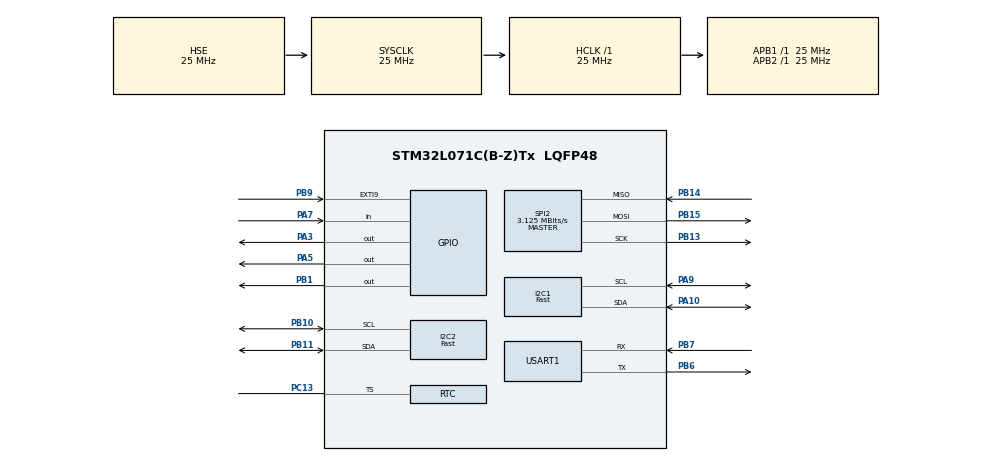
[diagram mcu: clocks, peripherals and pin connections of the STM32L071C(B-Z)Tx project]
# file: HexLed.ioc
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Dma.I2C1_RX.0.Direction=DMA_PERIPH_TO_MEMORY
Dma.I2C1_RX.0.Instance=DMA1_Channel3
Dma.I2C1_RX.0.MemDataAlignment=DMA_MDATAALIGN_BYTE
Dma.I2C1_RX.0.MemInc=DMA_MINC_ENABLE
Dma.I2C1_RX.0.Mode=DMA_NORMAL
Dma.I2C1_RX.0.PeriphDataAlignment=DMA_PDATAALIGN_BYTE
Dma.I2C1_RX.0.PeriphInc=DMA_PINC_DISABLE
Dma.I2C1_RX.0.Priority=DMA_PRIORITY_LOW
Dma.I2C1_TX.1.Direction=DMA_MEMORY_TO_PERIPH
Dma.I2C1_TX.1.Instance=DMA1_Channel2
Dma.I2C1_TX.1.MemDataAlignment=DMA_MDATAALIGN_BYTE
Dma.I2C1_TX.1.MemInc=DMA_MINC_ENABLE
Dma.I2C1_TX.1.Mode=DMA_NORMAL
Dma.I2C1_TX.1.PeriphDataAlignment=DMA_PDATAALIGN_BYTE
Dma.I2C1_TX.1.PeriphInc=DMA_PINC_DISABLE
Dma.I2C1_TX.1.Priority=DMA_PRIORITY_LOW
Dma.I2C2_RX.2.Direction=DMA_PERIPH_TO_MEMORY
Dma.I2C2_RX.2.Instance=DMA1_Channel5
Dma.I2C2_RX.2.MemDataAlignment=DMA_MDATAALIGN_BYTE
Dma.I2C2_RX.2.MemInc=DMA_MINC_ENABLE
Dma.I2C2_RX.2.Mode=DMA_NORMAL
Dma.I2C2_RX.2.PeriphDataAlignment=DMA_PDATAALIGN_BYTE
Dma.I2C2_RX.2.PeriphInc=DMA_PINC_DISABLE
Dma.I2C2_RX.2.Priority=DMA_PRIORITY_LOW
Dma.I2C2_TX.3.Direction=DMA_MEMORY_TO_PERIPH
Dma.I2C2_TX.3.Instance=DMA1_Channel4
Dma.I2C2_TX.3.MemDataAlignment=DMA_MDATAALIGN_BYTE
Dma.I2C2_TX.3.MemInc=DMA_MINC_ENABLE
Dma.I2C2_TX.3.Mode=DMA_NORMAL
Dma.I2C2_TX.3.PeriphDataAlignment=DMA_PDATAALIGN_BYTE
Dma.I2C2_TX.3.PeriphInc=DMA_PINC_DISABLE
Dma.I2C2_TX.3.Priority=DMA_PRIORITY_LOW
Dma.Request0=I2C1_RX
Dma.Request1=I2C1_TX
Dma.Request2=I2C2_RX
Dma.Request3=I2C2_TX
Dma.Request4=SPI2_RX
Dma.Request5=SPI2_TX
Dma.SPI2_RX.4.Direction=DMA_PERIPH_TO_MEMORY
Dma.SPI2_RX.4.Instance=DMA1_Channel6
Dma.SPI2_RX.4.MemDataAlignment=DMA_MDATAALIGN_BYTE
Dma.SPI2_RX.4.MemInc=DMA_MINC_ENABLE
Dma.SPI2_RX.4.Mode=DMA_NORMAL
Dma.SPI2_RX.4.PeriphDataAlignment=DMA_PDATAALIGN_BYTE
Dma.SPI2_RX.4.PeriphInc=DMA_PINC_DISABLE
Dma.SPI2_RX.4.Priority=DMA_PRIORITY_LOW
Dma.SPI2_TX.5.Direction=DMA_MEMORY_TO_PERIPH
Dma.SPI2_TX.5.Instance=DMA1_Channel7
Dma.SPI2_TX.5.MemDataAlignment=DMA_MDATAALIGN_BYTE
Dma.SPI2_TX.5.MemInc=DMA_MINC_ENABLE
Dma.SPI2_TX.5.Mode=DMA_NORMAL
Dma.SPI2_TX.5.PeriphDataAlignment=DMA_PDATAALIGN_BYTE
Dma.SPI2_TX.5.PeriphInc=DMA_PINC_DISABLE
Dma.SPI2_TX.5.Priority=DMA_PRIORITY_LOW
FREERTOS.Tasks01=defaultTask,24,128,StartDefaultTask,Default,NULL,Dynamic,NULL,NULL
I2C1.I2C_Speed_Mode=I2C_Fast
I2C1.Timing=0x00200B2B
I2C2.GeneralCallMode=I2C_GENERALCALL_ENABLE
I2C2.I2C_Speed_Mode=I2C_Fast
I2C2.NoStretchMode=I2C_NOSTRETCH_ENABLE
I2C2.OwnAddress=16
I2C2.Timing=0x00200B2B
Mcu.Family=STM32L0
Mcu.Name=STM32L071C(B-Z)Tx
Mcu.Package=LQFP48
NVIC.DMA1_Channel2_3_IRQn=true\:3\:0\:false\:false\:true\:true\:false\:true\:true
NVIC.DMA1_Channel4_5_6_7_IRQn=true\:3\:0\:false\:false\:true\:true\:false\:true\:true
NVIC.I2C1_IRQn=true\:3\:0\:false\:false\:true\:true\:true\:true\:true
NVIC.I2C2_IRQn=true\:3\:0\:false\:false\:true\:true\:true\:true\:true
NVIC.SPI2_IRQn=true\:3\:0\:false\:false\:true\:true\:true\:true\:true
NVIC.TIM2_IRQn=true\:0\:0\:false\:false\:true\:false\:false\:true\:true
NVIC.TimeBase=TIM2_IRQn
NVIC.TimeBaseIP=TIM2
NVIC.USART1_IRQn=true\:3\:0\:false\:false\:true\:true\:true\:true\:true
PA0.Mode=SYS_WakeUp0
PA0.Signal=SYS_WKUP1
PA10.GPIO_Pu=GPIO_PULLUP
PA10.Mode=I2C
PA10.Signal=I2C1_SDA
PA13.Mode=Serial_Wire
PA13.Signal=SYS_SWDIO
PA14.Mode=Serial_Wire
PA14.Signal=SYS_SWCLK
PA3.Signal=GPIO_Output
PA5.Signal=GPIO_Output
PA7.Signal=GPIO_Input
PA9.GPIO_Pu=GPIO_PULLUP
PA9.Mode=I2C
PA9.Signal=I2C1_SCL
PB1.Signal=GPIO_Output
PB10.GPIO_Pu=GPIO_PULLUP
PB10.Mode=I2C
PB10.Signal=I2C2_SCL
PB11.GPIO_Pu=GPIO_PULLUP
PB11.Mode=I2C
PB11.Signal=I2C2_SDA
PB13.Mode=Full_Duplex_Master
PB13.Signal=SPI2_SCK
PB14.Mode=Full_Duplex_Master
PB14.Signal=SPI2_MISO
PB15.Mode=Full_Duplex_Master
PB15.Signal=SPI2_MOSI
PB6.Mode=Asynchronous
PB6.Signal=USART1_TX
PB7.Mode=Asynchronous
PB7.Signal=USART1_RX
PB9.Signal=GPXTI9
PC13.Mode=Timestamp enabled
PC13.Signal=RTC_TS
PC14-OSC32_IN.Mode=LSE-External-Oscillator
PC14-OSC32_IN.Signal=RCC_OSC32_IN
PC15-OSC32_OUT.Mode=LSE-External-Oscillator
PC15-OSC32_OUT.Signal=RCC_OSC32_OUT
PH0-OSC_IN.Mode=HSE-External-Oscillator
PH0-OSC_IN.Signal=RCC_OSC_IN
PH1-OSC_OUT.Mode=HSE-External-Oscillator
PH1-OSC_OUT.Signal=RCC_OSC_OUT
ProjectManager.HeapSize=0x200
ProjectManager.StackSize=0x400
ProjectManager.TargetToolchain=Makefile
RCC.AHBFreq_Value=25000000
RCC.APB1Freq_Value=25000000
RCC.APB1TimFreq_Value=25000000
RCC.APB2Freq_Value=25000000
RCC.APB2TimFreq_Value=25000000
RCC.HCLKFreq_Value=25000000
RCC.HSE_VALUE=25000000
RCC.HSI16_VALUE=16000000
RCC.HSI_VALUE=16000000
RCC.MSI_VALUE=2097000
RCC.RTCClockSelection=RCC_RTCCLKSOURCE_LSE
RCC.RTCClockSelectionVirtual=RCC_RTCCLKSOURCE_LSE
RCC.SYSCLKFreq_VALUE=25000000
RCC.SYSCLKSource=RCC_SYSCLKSOURCE_HSE
RCC.VCOOutputFreq_Value=48000000
RTC.Alarm-Alarm\ A=RTC_ALARM_A
RTC.Alarm_B-Alarm\ B=RTC_ALARM_B
SPI2.BaudRatePrescaler=SPI_BAUDRATEPRESCALER_8
SPI2.CalculateBaudRate=3.125 MBits/s
SPI2.Direction=SPI_DIRECTION_2LINES
SPI2.Mode=SPI_MODE_MASTER
SPI2.VirtualType=VM_MASTER
TIM22.Channel-Input_Capture1_from_TI1_REMAP_TIM22=TIM_CHANNEL_1
USART1.VirtualMode-Asynchronous=VM_ASYNC
VP_FREERTOS_VS_CMSIS_V2.Mode=CMSIS_V2
VP_IWDG_VS_IWDG.Mode=IWDG_Activate
VP_RTC_VS_RTC_Activate.Mode=RTC_Enabled
VP_RTC_VS_RTC_Alarm_A_Intern.Mode=Alarm A
VP_RTC_VS_RTC_Alarm_B_Intern.Mode=Alarm B
VP_RTC_VS_RTC_Calendar.Mode=RTC_Calendar
VP_RTC_VS_RTC_WakeUp_intern.Mode=WakeUp
VP_SYS_VS_tim2.Mode=TIM2
VP_TIM22_VS_ClockSourceINT.Mode=Internal
VP_TIM22_VS_NoInput1.Mode=Input_Capture1_from_TI1_REMAP_TIM22
board=custom

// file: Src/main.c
/* USER CODE BEGIN Header */
/**
  ******************************************************************************
  * @file           : main.c
  * @brief          : Main program body
  ******************************************************************************
  * @attention
  *
  * <h2><center>&copy; Copyright (c) 2022 STMicroelectronics.
  * All rights reserved.</center></h2>
  *
  * This software component is licensed by ST under Ultimate Liberty license
  * SLA0044, the "License"; You may not use this file except in compliance with
  * the License. You may obtain a copy of the License at:
  *                             www.st.com/SLA0044
  *
  ******************************************************************************
  */
/* USER CODE END Header */
#include "main.h"
#include "cmsis_os.h"
#include "dma.h"
#include "gpio.h"
#include "i2c.h"
#include "iwdg.h"
#include "rtc.h"
#include "spi.h"
#include "tim.h"
#include "usart.h"

/* USER CODE BEGIN Includes */
#include "FreeRTOS.h"

#include "reset_info.h"

#include <assert.h>
#include <stdbool.h>
#include <stdio.h>
#include <string.h>
/* USER CODE END Includes */

void SystemClock_Config(void);
void MX_FREERTOS_Init(void);

int main(void)
{
  /* USER CODE BEGIN 1 */
  save_reset_cause();
  /* USER CODE END 1 */

  /* MCU Configuration--------------------------------------------------------*/

  /* Reset of all peripherals, Initializes the Flash interface and the Systick. */
  HAL_Init();

  /* Configure the system clock */
  SystemClock_Config();

  /* USER CODE BEGIN SysInit */

  // Configure debug registers
  #ifdef DEBUG
  DBGMCU->APB2FZ |= DBGMCU_APB2_FZ_DBG_TIM21_STOP;   // disable PWM outputs on debug stop
  DBGMCU->APB2FZ |= DBGMCU_APB2_FZ_DBG_TIM22_STOP;
  DBGMCU->APB1FZ |= DBGMCU_APB1_FZ_DBG_TIM2_STOP;  // freeze TIM2 on debug stop
  DBGMCU->APB1FZ |= DBGMCU_APB1_FZ_DBG_LPTIMER_STOP;  // freeze TIM6 on debug stop
  //DBGMCU->APB1FZ |= DBGMCU_APB1_FZ_DBG_RTC_STOP;  // freeze TIM7 on debug stop
  //DBGMCU->APB1FZ |= DBGMCU_APB1_FZ_DBG_I2C2_STOP;
  //DBGMCU->APB1FZ |= DBGMCU_APB1_FZ_DBG_I2C1_STOP;

  __HAL_RCC_DBGMCU_CLK_ENABLE();
  __HAL_DBGMCU_FREEZE_IWDG();
  #endif

  /* USER CODE END SysInit */

  /* Initialize all configured peripherals */
  MX_GPIO_Init();
  MX_DMA_Init();
  MX_I2C1_Init();
  MX_I2C2_Init();
  MX_USART1_UART_Init();
  MX_RTC_Init();
  MX_SPI2_Init();
  MX_TIM22_Init();
  MX_IWDG_Init();

  /* Init scheduler */
  osKernelInitialize(); /* Call init function for freertos objects (in freertos.c) */
  MX_FREERTOS_Init();

  /* Start scheduler */
  osKernelStart();

  /* We should never get here as control is now taken by the scheduler */
  /* Infinite loop */
  /* USER CODE BEGIN WHILE */
  while (1)
  {
    assert(false);
    /* USER CODE END WHILE */

  }
}

void SystemClock_Config(void)
{
  RCC_OscInitTypeDef RCC_OscInitStruct = {0};
  RCC_ClkInitTypeDef RCC_ClkInitStruct = {0};
  RCC_PeriphCLKInitTypeDef PeriphClkInit = {0};

  /** Configure the main internal regulator output voltage
  */
  __HAL_PWR_VOLTAGESCALING_CONFIG(PWR_REGULATOR_VOLTAGE_SCALE1);

  /** Configure LSE Drive Capability
  */
  HAL_PWR_EnableBkUpAccess();
  __HAL_RCC_LSEDRIVE_CONFIG(RCC_LSEDRIVE_LOW);

  /** Initializes the RCC Oscillators according to the specified parameters
  * in the RCC_OscInitTypeDef structure.
  */
  RCC_OscInitStruct.OscillatorType = RCC_OSCILLATORTYPE_LSI|RCC_OSCILLATORTYPE_HSE
                              |RCC_OSCILLATORTYPE_LSE;
  RCC_OscInitStruct.HSEState = RCC_HSE_ON;
  RCC_OscInitStruct.LSEState = RCC_LSE_ON;
  RCC_OscInitStruct.LSIState = RCC_LSI_ON;
  RCC_OscInitStruct.PLL.PLLState = RCC_PLL_NONE;
  if (HAL_RCC_OscConfig(&RCC_OscInitStruct) != HAL_OK)
  {
    Error_Handler();
  }

  /** Initializes the CPU, AHB and APB buses clocks
  */
  RCC_ClkInitStruct.ClockType = RCC_CLOCKTYPE_HCLK|RCC_CLOCKTYPE_SYSCLK
                              |RCC_CLOCKTYPE_PCLK1|RCC_CLOCKTYPE_PCLK2;
  RCC_ClkInitStruct.SYSCLKSource = RCC_SYSCLKSOURCE_HSE;
  RCC_ClkInitStruct.AHBCLKDivider = RCC_SYSCLK_DIV1;
  RCC_ClkInitStruct.APB1CLKDivider = RCC_HCLK_DIV1;
  RCC_ClkInitStruct.APB2CLKDivider = RCC_HCLK_DIV1;

  if (HAL_RCC_ClockConfig(&RCC_ClkInitStruct, FLASH_LATENCY_1) != HAL_OK)
  {
    Error_Handler();
  }
  PeriphClkInit.PeriphClockSelection = RCC_PERIPHCLK_USART1|RCC_PERIPHCLK_I2C1
                              |RCC_PERIPHCLK_RTC;
  PeriphClkInit.Usart1ClockSelection = RCC_USART1CLKSOURCE_PCLK2;
  PeriphClkInit.I2c1ClockSelection = RCC_I2C1CLKSOURCE_PCLK1;
  PeriphClkInit.RTCClockSelection = RCC_RTCCLKSOURCE_LSE;
  if (HAL_RCCEx_PeriphCLKConfig(&PeriphClkInit) != HAL_OK)
  {
    Error_Handler();
  }
}

void HAL_TIM_PeriodElapsedCallback(TIM_HandleTypeDef *htim)
{
  if (htim->Instance == TIM2) {
    HAL_IncTick();
  }
}

void Error_Handler(void)
{
  __disable_irq();
  while (1)
  {
  }
}

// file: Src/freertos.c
/* USER CODE BEGIN Header */
/**
  ******************************************************************************
  * File Name          : freertos.c
  * Description        : Code for freertos applications
  ******************************************************************************
  * @attention
  *
  * <h2><center>&copy; Copyright (c) 2022 STMicroelectronics.
  * All rights reserved.</center></h2>
  *
  * This software component is licensed by ST under Ultimate Liberty license
  * SLA0044, the "License"; You may not use this file except in compliance with
  * the License. You may obtain a copy of the License at:
  *                             www.st.com/SLA0044
  *
  ******************************************************************************
  */
/* USER CODE END Header */

#include "FreeRTOS.h"
#include "task.h"
#include "main.h"
#include "cmsis_os.h"

/* USER CODE BEGIN Includes */
#include "application.h"
/* USER CODE END Includes */

typedef StaticTask_t osStaticThreadDef_t;

/* USER CODE BEGIN PM */
#define DEFAULT_TASK_STACK_SIZE (32)
// Idle priority
#define DEFAULT_TASK_PRIORITY (1)
/* USER CODE END PM */

/* Definitions for defaultTask */
osThreadId_t         defaultTaskHandle;
uint32_t             defaultTaskBuffer[128];
osStaticThreadDef_t  defaultTaskControlBlock;
const osThreadAttr_t defaultTask_attributes = {
  .name       = "defaultTask",
  .cb_mem     = &defaultTaskControlBlock,
  .cb_size    = sizeof(defaultTaskControlBlock),
  .stack_mem  = &defaultTaskBuffer[0],
  .stack_size = sizeof(defaultTaskBuffer),
  .priority   = (osPriority_t)osPriorityNormal,
};

void StartDefaultTask(void *argument);

void MX_FREERTOS_Init(void); /* (MISRA C 2004 rule 8.1) */

void MX_FREERTOS_Init(void) {

  /* Create the thread(s) */
  /* creation of defaultTask */
  defaultTaskHandle = osThreadNew(StartDefaultTask, NULL, &defaultTask_attributes);

}

void StartDefaultTask(void *argument)
{
  /* USER CODE BEGIN StartDefaultTask */
  init_application();
  /* Infinite loop */
  for(;;)
  {
    update_application();
    portYIELD();
  }
  /* USER CODE END StartDefaultTask */
}
